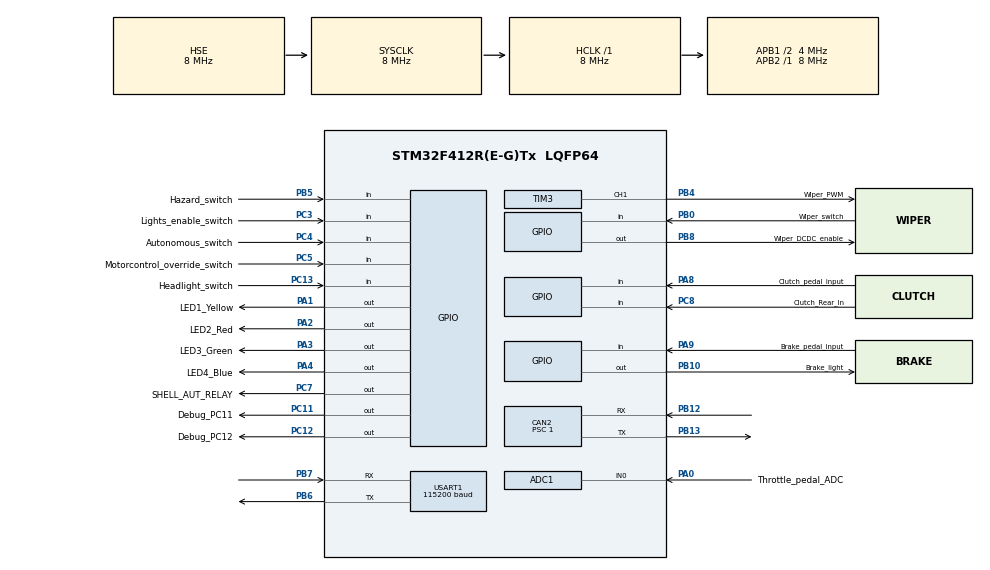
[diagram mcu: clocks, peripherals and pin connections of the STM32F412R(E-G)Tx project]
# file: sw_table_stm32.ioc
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ADC1.Channel-0\#ChannelRegularConversion=ADC_CHANNEL_0
ADC1.ClockPrescaler=ADC_CLOCK_SYNC_PCLK_DIV4
ADC1.ContinuousConvMode=DISABLE
ADC1.DMAContinuousRequests=ENABLE
ADC1.DiscontinuousConvMode=DISABLE
ADC1.EOCSelection=ADC_EOC_SINGLE_CONV
ADC1.EnableAnalogWatchDog=false
ADC1.ExternalTrigConv=ADC_EXTERNALTRIGCONV_T2_TRGO
ADC1.NbrOfConversionFlag=1
ADC1.Rank-0\#ChannelRegularConversion=1
ADC1.Resolution=ADC_RESOLUTION_12B
ADC1.SamplingTime-0\#ChannelRegularConversion=ADC_SAMPLETIME_3CYCLES
ADC1.ScanConvMode=DISABLE
ADC1.master=1
CAN2.BS1=CAN_BS1_5TQ
CAN2.BS2=CAN_BS2_2TQ
CAN2.CalculateBaudRate=500000
CAN2.CalculateTimeBit=2000
CAN2.CalculateTimeQuantum=250.0
CAN2.Prescaler=1
CAN2.SJW=CAN_SJW_2TQ
Dma.ADC1.0.Direction=DMA_PERIPH_TO_MEMORY
Dma.ADC1.0.FIFOMode=DMA_FIFOMODE_DISABLE
Dma.ADC1.0.Instance=DMA2_Stream0
Dma.ADC1.0.MemDataAlignment=DMA_MDATAALIGN_HALFWORD
Dma.ADC1.0.MemInc=DMA_MINC_ENABLE
Dma.ADC1.0.Mode=DMA_CIRCULAR
Dma.ADC1.0.PeriphDataAlignment=DMA_PDATAALIGN_HALFWORD
Dma.ADC1.0.PeriphInc=DMA_PINC_DISABLE
Dma.ADC1.0.Priority=DMA_PRIORITY_MEDIUM
Dma.Request0=ADC1
Mcu.Family=STM32F4
Mcu.Name=STM32F412R(E-G)Tx
Mcu.Package=LQFP64
NVIC.DMA2_Stream0_IRQn=true\:0\:0\:false\:false\:true\:false\:true\:true
NVIC.PriorityGroup=NVIC_PRIORITYGROUP_4
NVIC.TIM8_TRG_COM_TIM14_IRQn=true\:0\:0\:false\:false\:true\:true\:true\:true
PA0.GPIO_Label=Throttle_pedal_ADC
PA0.Signal=ADCx_IN0
PA1.GPIO_Label=LED1_Yellow
PA1.Signal=GPIO_Output
PA13.Mode=Serial_Wire
PA13.Signal=SYS_JTMS-SWDIO
PA14.Mode=Serial_Wire
PA14.Signal=SYS_JTCK-SWCLK
PA2.GPIO_Label=LED2_Red
PA2.Signal=GPIO_Output
PA3.GPIO_Label=LED3_Green
PA3.Signal=GPIO_Output
PA4.GPIO_Label=LED4_Blue
PA4.Signal=GPIO_Output
PA8.GPIO_Label=Clutch_pedal_input
PA8.GPIO_PuPd=GPIO_PULLDOWN
PA8.Signal=GPIO_Input
PA9.GPIO_Label=Brake_pedal_input
PA9.Signal=GPIO_Input
PB0.GPIO_Label=Wiper_switch
PB0.Signal=GPIO_Input
PB10.GPIO_Label=Brake_light
PB10.GPIO_ModeDefaultOutputPP=GPIO_MODE_OUTPUT_OD
PB10.GPIO_PuPd=GPIO_NOPULL
PB10.Signal=GPIO_Output
PB12.GPIO_PuPd=GPIO_NOPULL
PB12.Mode=CAN_Activate
PB12.Signal=CAN2_RX
PB13.Mode=CAN_Activate
PB13.Signal=CAN2_TX
PB4.GPIO_Label=Wiper_PWM
PB4.Signal=S_TIM3_CH1
PB5.GPIO_Label=Hazard_switch
PB5.Signal=GPIO_Input
PB6.Mode=Asynchronous
PB6.Signal=USART1_TX
PB7.Mode=Asynchronous
PB7.Signal=USART1_RX
PB8.GPIO_Label=Wiper_DCDC_enable
PB8.Signal=GPIO_Output
PC11.GPIO_Label=Debug_PC11
PC11.Signal=GPIO_Output
PC12.GPIO_Label=Debug_PC12
PC12.Signal=GPIO_Output
PC13.GPIO_Label=Headlight_switch
PC13.Signal=GPIO_Input
PC14-OSC32_IN.Mode=LSE-External-Oscillator
PC14-OSC32_IN.Signal=RCC_OSC32_IN
PC15-OSC32_OUT.Mode=LSE-External-Oscillator
PC15-OSC32_OUT.Signal=RCC_OSC32_OUT
PC3.GPIO_Label=Lights_enable_switch
PC3.Signal=GPIO_Input
PC4.GPIO_Label=Autonomous_switch
PC4.Signal=GPIO_Input
PC5.GPIO_Label=Motorcontrol_override_switch
PC5.Signal=GPIO_Input
PC7.GPIO_Label=SHELL_AUT_RELAY
PC7.Signal=GPIO_Output
PC8.GPIO_Label=Clutch_Rear_In
PC8.GPIO_PuPd=GPIO_NOPULL
PC8.Signal=GPIO_Input
PH0\ -\ OSC_IN.Mode=HSE-External-Oscillator
PH0\ -\ OSC_IN.Signal=RCC_OSC_IN
PH1\ -\ OSC_OUT.Mode=HSE-External-Oscillator
PH1\ -\ OSC_OUT.Signal=RCC_OSC_OUT
ProjectManager.HeapSize=0x200
ProjectManager.StackSize=0x400
ProjectManager.TargetToolchain=STM32CubeIDE
RCC.AHBFreq_Value=8000000
RCC.APB1CLKDivider=RCC_HCLK_DIV2
RCC.APB1Freq_Value=4000000
RCC.APB1TimFreq_Value=8000000
RCC.APB2Freq_Value=8000000
RCC.APB2TimFreq_Value=8000000
RCC.CortexFreq_Value=8000000
RCC.HCLKFreq_Value=8000000
RCC.HSE_VALUE=8000000
RCC.PLLM=4
RCC.PLLN=80
RCC.PLLSourceVirtual=RCC_PLLSOURCE_HSE
RCC.PWR_Regulator_Voltage_Scale=PWR_REGULATOR_VOLTAGE_SCALE1
RCC.SYSCLKFreq_VALUE=8000000
RCC.SYSCLKSource=RCC_SYSCLKSOURCE_HSE
RCC.USBFreq_Value=80000000
RCC.VCOOutputFreq_Value=160000000
SH.ADCx_IN0.0=ADC1_IN0,IN0
SH.S_TIM3_CH1.0=TIM3_CH1,PWM Generation1 CH1
TIM14.AutoReloadPreload=TIM_AUTORELOAD_PRELOAD_ENABLE
TIM14.Period=40000-1
TIM14.Prescaler=10-1
TIM2.AutoReloadPreload=TIM_AUTORELOAD_PRELOAD_ENABLE
TIM2.Period=4000-1
TIM2.Prescaler=10-1
TIM2.TIM_MasterOutputTrigger=TIM_TRGO_UPDATE
TIM2.TIM_MasterSlaveMode=TIM_MASTERSLAVEMODE_ENABLE
TIM3.AutoReloadPreload=TIM_AUTORELOAD_PRELOAD_ENABLE
TIM3.Channel-PWM\ Generation1\ CH1=TIM_CHANNEL_1
TIM3.ClockDivision=TIM_CLOCKDIVISION_DIV1
TIM3.CounterMode=TIM_COUNTERMODE_UP
TIM3.OCPolarity_1=TIM_OCPOLARITY_HIGH
TIM3.Period=40000-1
TIM3.Prescaler=4-1
USART1.BaudRate=115200
USART1.Mode=MODE_TX
USART1.OverSampling=UART_OVERSAMPLING_8
USART1.Parity=PARITY_EVEN
USART1.StopBits=STOPBITS_1
USART1.VirtualMode=VM_ASYNC
USART1.WordLength=WORDLENGTH_9B
VP_TIM14_VS_ClockSourceINT.Mode=Enable_Timer
VP_TIM2_VS_ClockSourceINT.Mode=Internal
board=custom

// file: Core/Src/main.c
/* USER CODE BEGIN Header */
/**
  ******************************************************************************
  * @file           : main.c
  * @brief          : Main program body
  ******************************************************************************
  * @attention
  *
  * Copyright (c) 2026 STMicroelectronics.
  * All rights reserved.
  *
  * This software is licensed under terms that can be found in the LICENSE file
  * in the root directory of this software component.
  * If no LICENSE file comes with this software, it is provided AS-IS.
  *
  ******************************************************************************
  */
/* USER CODE END Header */
#include "main.h"

/* USER CODE BEGIN Includes */
#include "user.h"
/* USER CODE END Includes */

ADC_HandleTypeDef hadc1;
DMA_HandleTypeDef hdma_adc1;

CAN_HandleTypeDef hcan2;

TIM_HandleTypeDef htim2;
TIM_HandleTypeDef htim3;
TIM_HandleTypeDef htim14;

UART_HandleTypeDef huart1;

void SystemClock_Config(void);
static void MX_GPIO_Init(void);
static void MX_DMA_Init(void);
static void MX_ADC1_Init(void);
static void MX_CAN2_Init(void);
static void MX_TIM3_Init(void);
static void MX_USART1_UART_Init(void);
static void MX_TIM14_Init(void);
static void MX_TIM2_Init(void);

/* USER CODE BEGIN 0 */

// this is how timer 14 wakes up the cpu
volatile uint8_t wake_up_flag = RESET;
void HAL_TIM_PeriodElapsedCallback(TIM_HandleTypeDef *htim) {
	if (htim->Instance == TIM14) {
		wake_up_flag = SET;
	}
}

/* USER CODE END 0 */

int main(void)
{

  /* MCU Configuration--------------------------------------------------------*/

  /* Reset of all peripherals, Initializes the Flash interface and the Systick. */
  HAL_Init();

  /* Configure the system clock */
  SystemClock_Config();

  /* Initialize all configured peripherals */
  MX_GPIO_Init();
  MX_DMA_Init();
  MX_ADC1_Init();
  MX_CAN2_Init();
  MX_TIM3_Init();
  MX_USART1_UART_Init();
  MX_TIM14_Init();
  MX_TIM2_Init();
  /* USER CODE BEGIN 2 */

  // Initialize the variables and peripherals
  User_Init(&hcan2, &htim3, &huart1);

  // Start the "wake-up" timer,
  // this will wake the CPU every 50ms
  if (HAL_TIM_Base_Start_IT(&htim14) != HAL_OK) {
	  User_Error_Handler(UERR_WAKE_TIMER_FAIL, SET);
  }

  // Start the ADC reading the throttle pedal in DMA mode
  // and its trigger timer that fires every 5ms
  if (HAL_ADC_Start_DMA(&hadc1, (uint32_t*)throttle_adc_buffer, 10) != HAL_OK) {
	  User_Error_Handler(UERR_ADC_START_FAIL, SET);
  }
  if (HAL_TIM_Base_Start(&htim2) != HAL_OK) {
	  User_Error_Handler(UERR_ADC_TIMER_FAIL, SET);
  }

  /* USER CODE END 2 */

  /* Infinite loop */
  /* USER CODE BEGIN WHILE */
  while (1)
  {
	  // Execute the tasks once, then go to sleep until the TIM14 triggers again
	  if (wake_up_flag == SET) {
#ifdef DEBUG_PINS
    HAL_GPIO_WritePin(Debug_PC12_GPIO_Port, Debug_PC12_Pin, GPIO_PIN_SET);
#endif
		User_Loop();
		wake_up_flag = RESET;
#ifdef DEBUG_PINS
	HAL_GPIO_WritePin(Debug_PC12_GPIO_Port, Debug_PC12_Pin, GPIO_PIN_RESET);
#endif
	  }
	HAL_PWR_EnterSLEEPMode(PWR_MAINREGULATOR_ON, PWR_SLEEPENTRY_WFI);
    /* USER CODE END WHILE */

  }
}

void SystemClock_Config(void)
{
  RCC_OscInitTypeDef RCC_OscInitStruct = {0};
  RCC_ClkInitTypeDef RCC_ClkInitStruct = {0};

  /** Configure the main internal regulator output voltage
  */
  __HAL_RCC_PWR_CLK_ENABLE();
  __HAL_PWR_VOLTAGESCALING_CONFIG(PWR_REGULATOR_VOLTAGE_SCALE1);

  /** Initializes the RCC Oscillators according to the specified parameters
  * in the RCC_OscInitTypeDef structure.
  */
  RCC_OscInitStruct.OscillatorType = RCC_OSCILLATORTYPE_HSE;
  RCC_OscInitStruct.HSEState = RCC_HSE_ON;
  RCC_OscInitStruct.PLL.PLLState = RCC_PLL_NONE;
  if (HAL_RCC_OscConfig(&RCC_OscInitStruct) != HAL_OK)
  {
    Error_Handler();
  }

  /** Initializes the CPU, AHB and APB buses clocks
  */
  RCC_ClkInitStruct.ClockType = RCC_CLOCKTYPE_HCLK|RCC_CLOCKTYPE_SYSCLK
                              |RCC_CLOCKTYPE_PCLK1|RCC_CLOCKTYPE_PCLK2;
  RCC_ClkInitStruct.SYSCLKSource = RCC_SYSCLKSOURCE_HSE;
  RCC_ClkInitStruct.AHBCLKDivider = RCC_SYSCLK_DIV1;
  RCC_ClkInitStruct.APB1CLKDivider = RCC_HCLK_DIV2;
  RCC_ClkInitStruct.APB2CLKDivider = RCC_HCLK_DIV1;

  if (HAL_RCC_ClockConfig(&RCC_ClkInitStruct, FLASH_LATENCY_0) != HAL_OK)
  {
    Error_Handler();
  }
}

static void MX_ADC1_Init(void)
{

  ADC_ChannelConfTypeDef sConfig = {0};

  /** Configure the global features of the ADC (Clock, Resolution, Data Alignment and number of conversion)
  */
  hadc1.Instance = ADC1;
  hadc1.Init.ClockPrescaler = ADC_CLOCK_SYNC_PCLK_DIV4;
  hadc1.Init.Resolution = ADC_RESOLUTION_12B;
  hadc1.Init.ScanConvMode = DISABLE;
  hadc1.Init.ContinuousConvMode = DISABLE;
  hadc1.Init.DiscontinuousConvMode = DISABLE;
  hadc1.Init.ExternalTrigConvEdge = ADC_EXTERNALTRIGCONVEDGE_RISING;
  hadc1.Init.ExternalTrigConv = ADC_EXTERNALTRIGCONV_T2_TRGO;
  hadc1.Init.DataAlign = ADC_DATAALIGN_RIGHT;
  hadc1.Init.NbrOfConversion = 1;
  hadc1.Init.DMAContinuousRequests = ENABLE;
  hadc1.Init.EOCSelection = ADC_EOC_SINGLE_CONV;
  if (HAL_ADC_Init(&hadc1) != HAL_OK)
  {
    Error_Handler();
  }

  /** Configure for the selected ADC regular channel its corresponding rank in the sequencer and its sample time.
  */
  sConfig.Channel = ADC_CHANNEL_0;
  sConfig.Rank = 1;
  sConfig.SamplingTime = ADC_SAMPLETIME_3CYCLES;
  if (HAL_ADC_ConfigChannel(&hadc1, &sConfig) != HAL_OK)
  {
    Error_Handler();
  }

}

static void MX_CAN2_Init(void)
{

  hcan2.Instance = CAN2;
  hcan2.Init.Prescaler = 1;
  hcan2.Init.Mode = CAN_MODE_NORMAL;
  hcan2.Init.SyncJumpWidth = CAN_SJW_2TQ;
  hcan2.Init.TimeSeg1 = CAN_BS1_5TQ;
  hcan2.Init.TimeSeg2 = CAN_BS2_2TQ;
  hcan2.Init.TimeTriggeredMode = DISABLE;
  hcan2.Init.AutoBusOff = DISABLE;
  hcan2.Init.AutoWakeUp = DISABLE;
  hcan2.Init.AutoRetransmission = DISABLE;
  hcan2.Init.ReceiveFifoLocked = DISABLE;
  hcan2.Init.TransmitFifoPriority = DISABLE;
  if (HAL_CAN_Init(&hcan2) != HAL_OK)
  {
    Error_Handler();
  }

}

static void MX_TIM2_Init(void)
{

  TIM_ClockConfigTypeDef sClockSourceConfig = {0};
  TIM_MasterConfigTypeDef sMasterConfig = {0};

  htim2.Instance = TIM2;
  htim2.Init.Prescaler = 10-1;
  htim2.Init.CounterMode = TIM_COUNTERMODE_UP;
  htim2.Init.Period = 4000-1;
  htim2.Init.ClockDivision = TIM_CLOCKDIVISION_DIV1;
  htim2.Init.AutoReloadPreload = TIM_AUTORELOAD_PRELOAD_ENABLE;
  if (HAL_TIM_Base_Init(&htim2) != HAL_OK)
  {
    Error_Handler();
  }
  sClockSourceConfig.ClockSource = TIM_CLOCKSOURCE_INTERNAL;
  if (HAL_TIM_ConfigClockSource(&htim2, &sClockSourceConfig) != HAL_OK)
  {
    Error_Handler();
  }
  sMasterConfig.MasterOutputTrigger = TIM_TRGO_UPDATE;
  sMasterConfig.MasterSlaveMode = TIM_MASTERSLAVEMODE_ENABLE;
  if (HAL_TIMEx_MasterConfigSynchronization(&htim2, &sMasterConfig) != HAL_OK)
  {
    Error_Handler();
  }

}

static void MX_TIM3_Init(void)
{

  TIM_MasterConfigTypeDef sMasterConfig = {0};
  TIM_OC_InitTypeDef sConfigOC = {0};

  htim3.Instance = TIM3;
  htim3.Init.Prescaler = 4-1;
  htim3.Init.CounterMode = TIM_COUNTERMODE_UP;
  htim3.Init.Period = 40000-1;
  htim3.Init.ClockDivision = TIM_CLOCKDIVISION_DIV1;
  htim3.Init.AutoReloadPreload = TIM_AUTORELOAD_PRELOAD_ENABLE;
  if (HAL_TIM_PWM_Init(&htim3) != HAL_OK)
  {
    Error_Handler();
  }
  sMasterConfig.MasterOutputTrigger = TIM_TRGO_RESET;
  sMasterConfig.MasterSlaveMode = TIM_MASTERSLAVEMODE_DISABLE;
  if (HAL_TIMEx_MasterConfigSynchronization(&htim3, &sMasterConfig) != HAL_OK)
  {
    Error_Handler();
  }
  sConfigOC.OCMode = TIM_OCMODE_PWM1;
  sConfigOC.Pulse = 0;
  sConfigOC.OCPolarity = TIM_OCPOLARITY_HIGH;
  sConfigOC.OCFastMode = TIM_OCFAST_DISABLE;
  if (HAL_TIM_PWM_ConfigChannel(&htim3, &sConfigOC, TIM_CHANNEL_1) != HAL_OK)
  {
    Error_Handler();
  }
  HAL_TIM_MspPostInit(&htim3);

}

static void MX_TIM14_Init(void)
{

  htim14.Instance = TIM14;
  htim14.Init.Prescaler = 10-1;
  htim14.Init.CounterMode = TIM_COUNTERMODE_UP;
  htim14.Init.Period = 40000-1;
  htim14.Init.ClockDivision = TIM_CLOCKDIVISION_DIV1;
  htim14.Init.AutoReloadPreload = TIM_AUTORELOAD_PRELOAD_ENABLE;
  if (HAL_TIM_Base_Init(&htim14) != HAL_OK)
  {
    Error_Handler();
  }

}

static void MX_USART1_UART_Init(void)
{

  huart1.Instance = USART1;
  huart1.Init.BaudRate = 115200;
  huart1.Init.WordLength = UART_WORDLENGTH_9B;
  huart1.Init.StopBits = UART_STOPBITS_1;
  huart1.Init.Parity = UART_PARITY_EVEN;
  huart1.Init.Mode = UART_MODE_TX;
  huart1.Init.HwFlowCtl = UART_HWCONTROL_NONE;
  huart1.Init.OverSampling = UART_OVERSAMPLING_8;
  if (HAL_UART_Init(&huart1) != HAL_OK)
  {
    Error_Handler();
  }

}

static void MX_DMA_Init(void)
{

  /* DMA controller clock enable */
  __HAL_RCC_DMA2_CLK_ENABLE();

  /* DMA interrupt init */
  /* DMA2_Stream0_IRQn interrupt configuration */
  HAL_NVIC_SetPriority(DMA2_Stream0_IRQn, 0, 0);
  HAL_NVIC_EnableIRQ(DMA2_Stream0_IRQn);

}

static void MX_GPIO_Init(void)
{
  GPIO_InitTypeDef GPIO_InitStruct = {0};

  /* GPIO Ports Clock Enable */
  __HAL_RCC_GPIOC_CLK_ENABLE();
  __HAL_RCC_GPIOH_CLK_ENABLE();
  __HAL_RCC_GPIOA_CLK_ENABLE();
  __HAL_RCC_GPIOB_CLK_ENABLE();

  /*Configure GPIO pin Output Level */
  HAL_GPIO_WritePin(GPIOA, LED1_Yellow_Pin|LED2_Red_Pin|LED3_Green_Pin|LED4_Blue_Pin, GPIO_PIN_RESET);

  /*Configure GPIO pin Output Level */
  HAL_GPIO_WritePin(GPIOB, Brake_light_Pin|Wiper_DCDC_enable_Pin, GPIO_PIN_RESET);

  /*Configure GPIO pin Output Level */
  HAL_GPIO_WritePin(GPIOC, SHELL_AUT_RELAY_Pin|Debug_PC11_Pin|Debug_PC12_Pin, GPIO_PIN_RESET);

  /*Configure GPIO pins : Headlight_switch_Pin Lights_enable_switch_Pin Autonomous_switch_Pin Motorcontrol_override_switch_Pin
                           Clutch_Rear_In_Pin */
  GPIO_InitStruct.Pin = Headlight_switch_Pin|Lights_enable_switch_Pin|Autonomous_switch_Pin|Motorcontrol_override_switch_Pin
                          |Clutch_Rear_In_Pin;
  GPIO_InitStruct.Mode = GPIO_MODE_INPUT;
  GPIO_InitStruct.Pull = GPIO_NOPULL;
  HAL_GPIO_Init(GPIOC, &GPIO_InitStruct);

  /*Configure GPIO pins : LED1_Yellow_Pin LED2_Red_Pin LED3_Green_Pin LED4_Blue_Pin */
  GPIO_InitStruct.Pin = LED1_Yellow_Pin|LED2_Red_Pin|LED3_Green_Pin|LED4_Blue_Pin;
  GPIO_InitStruct.Mode = GPIO_MODE_OUTPUT_PP;
  GPIO_InitStruct.Pull = GPIO_NOPULL;
  GPIO_InitStruct.Speed = GPIO_SPEED_FREQ_LOW;
  HAL_GPIO_Init(GPIOA, &GPIO_InitStruct);

  /*Configure GPIO pins : Wiper_switch_Pin Hazard_switch_Pin */
  GPIO_InitStruct.Pin = Wiper_switch_Pin|Hazard_switch_Pin;
  GPIO_InitStruct.Mode = GPIO_MODE_INPUT;
  GPIO_InitStruct.Pull = GPIO_NOPULL;
  HAL_GPIO_Init(GPIOB, &GPIO_InitStruct);

  /*Configure GPIO pin : Brake_light_Pin */
  GPIO_InitStruct.Pin = Brake_light_Pin;
  GPIO_InitStruct.Mode = GPIO_MODE_OUTPUT_OD;
  GPIO_InitStruct.Pull = GPIO_NOPULL;
  GPIO_InitStruct.Speed = GPIO_SPEED_FREQ_LOW;
  HAL_GPIO_Init(Brake_light_GPIO_Port, &GPIO_InitStruct);

  /*Configure GPIO pins : SHELL_AUT_RELAY_Pin Debug_PC11_Pin Debug_PC12_Pin */
  GPIO_InitStruct.Pin = SHELL_AUT_RELAY_Pin|Debug_PC11_Pin|Debug_PC12_Pin;
  GPIO_InitStruct.Mode = GPIO_MODE_OUTPUT_PP;
  GPIO_InitStruct.Pull = GPIO_NOPULL;
  GPIO_InitStruct.Speed = GPIO_SPEED_FREQ_LOW;
  HAL_GPIO_Init(GPIOC, &GPIO_InitStruct);

  /*Configure GPIO pin : Clutch_pedal_input_Pin */
  GPIO_InitStruct.Pin = Clutch_pedal_input_Pin;
  GPIO_InitStruct.Mode = GPIO_MODE_INPUT;
  GPIO_InitStruct.Pull = GPIO_PULLDOWN;
  HAL_GPIO_Init(Clutch_pedal_input_GPIO_Port, &GPIO_InitStruct);

  /*Configure GPIO pin : Brake_pedal_input_Pin */
  GPIO_InitStruct.Pin = Brake_pedal_input_Pin;
  GPIO_InitStruct.Mode = GPIO_MODE_INPUT;
  GPIO_InitStruct.Pull = GPIO_NOPULL;
  HAL_GPIO_Init(Brake_pedal_input_GPIO_Port, &GPIO_InitStruct);

  /*Configure GPIO pin : Wiper_DCDC_enable_Pin */
  GPIO_InitStruct.Pin = Wiper_DCDC_enable_Pin;
  GPIO_InitStruct.Mode = GPIO_MODE_OUTPUT_PP;
  GPIO_InitStruct.Pull = GPIO_NOPULL;
  GPIO_InitStruct.Speed = GPIO_SPEED_FREQ_LOW;
  HAL_GPIO_Init(Wiper_DCDC_enable_GPIO_Port, &GPIO_InitStruct);

}

void Error_Handler(void)
{
  /* USER CODE BEGIN Error_Handler_Debug */
  /* User can add his own implementation to report the HAL error return state */
  User_Error_Handler(UERR_UNKNOWN, SET);
  while (1)
  {
  }
  /* USER CODE END Error_Handler_Debug */
}
